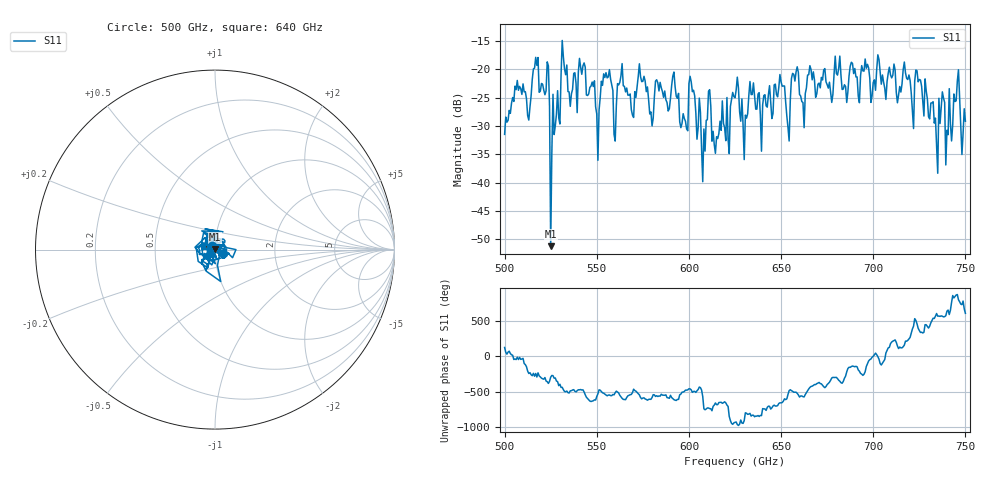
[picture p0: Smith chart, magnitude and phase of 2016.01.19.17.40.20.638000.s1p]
!Created with skrf (http://scikit-rf.org).
# GHz S RI R 50.0
!freq ReS11 ImS11
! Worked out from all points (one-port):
!   401 points, 500 GHz to 750 GHz, reference 50 ohm
!   lowest |S11| = -51.2 dB at 525 GHz (marker M1), VSWR 1.01, Z = 50.1 + j0.247 ohm
!   |S11| at or under -10 dB: start of sweep to end of sweep
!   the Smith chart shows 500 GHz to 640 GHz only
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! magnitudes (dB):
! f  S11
! 500 GHz  -31.5
! 506.9 GHz  -21.9
! 513.1 GHz  -28.9
! 516.9 GHz  -17.9
! 523.1 GHz  -18.7
! 525 GHz  -51.2
! 526.2 GHz  -24.4
! 531.2 GHz  -14.9
! 541.9 GHz  -20.8
! 550.6 GHz  -36.1
! 562.5 GHz  -22.3
! 593.8 GHz  -25.1
! 598.1 GHz  -29.1
! 601.2 GHz  -22.2
! 608.1 GHz  -30.5
! 610.6 GHz  -23.9
! 615 GHz  -31.9
! 625 GHz  -25.0
! 630.6 GHz  -28.1
! 633.8 GHz  -24.4
! 650.6 GHz  -23.0
! 653.8 GHz  -30.3
! 656.2 GHz  -20.7
! 687.5 GHz  -19.4
! 718.8 GHz  -21.8
! 733.8 GHz  -28.6
! 745 GHz  -25.5
! 750 GHz  -29.1
